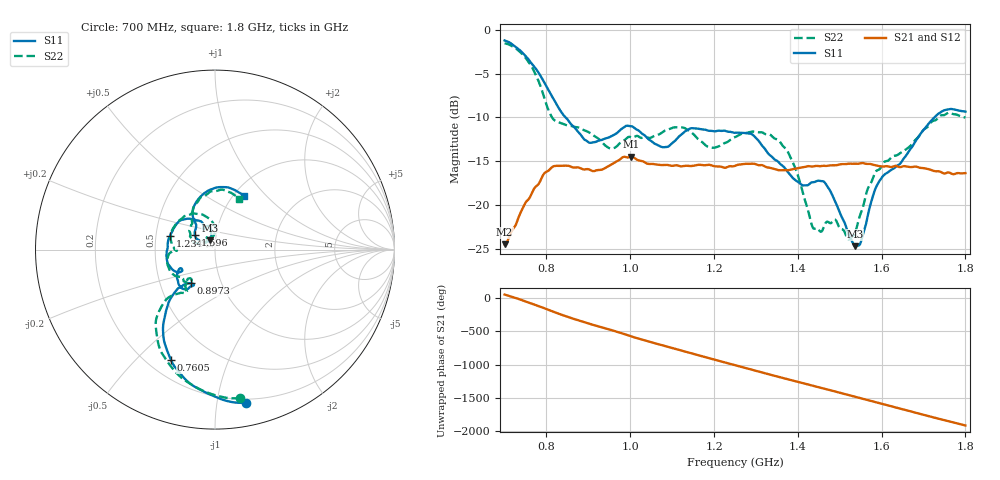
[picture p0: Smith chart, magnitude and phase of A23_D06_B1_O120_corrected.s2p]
! Created with skrf 1.9.0 (http://scikit-rf.org).
# Hz S RI R 50.0
!freq ReS11 ImS11 ReS21 ImS21 ReS12 ImS12 ReS22 ImS22
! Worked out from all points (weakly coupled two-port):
!   1601 points, 700 MHz to 1.8 GHz, reference 50 ohm
!   highest |S21| = -14.49 dB at 1.002 GHz (marker M1); lowest = -24.5 dB at 700 MHz (marker M2)
!   lowest |S11| = -24.7 dB at 1.537 GHz (marker M3), VSWR 1.12, Z = 47.2 + j4.92 ohm
!   |S11| at or under -10 dB: 845.8 MHz to 1.726 GHz (880 MHz wide, 68.4 % of centre)
!   |S22| runs from -24.0 to -1.5 dB; largest |S21 - S12| = 0.0034
!   S11 on the Smith chart (normalised r, x): 700 MHz: 0.17, -1.21; 760.5 MHz: 0.29, -0.64; 897.3 MHz: 0.72, -0.28; 1.234 GHz: 0.59, +0.10; 1.596 GHz: 0.79, +0.13; 1.8 GHz: 1.12, +0.76
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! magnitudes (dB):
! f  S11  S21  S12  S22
! 700 MHz  -1.2  -24.5  -24.3  -1.5
! 760.5 MHz  -3.6  -19.1  -19.0  -3.9
! 815.5 MHz  -7.8  -15.6  -15.7  -10.2
! 883.6 MHz  -12.1  -15.9  -15.8  -11.3
! 897.3 MHz  -12.7  -15.9  -16.0  -11.6
! 953 MHz  -12.2  -15.4  -15.4  -13.5
! 1.002 GHz  -11.0  -14.5  -14.6  -12.3
! 1.067 GHz  -13.2  -15.4  -15.4  -12.0
! 1.145 GHz  -11.2  -15.6  -15.6  -11.7
! 1.19 GHz  -11.5  -15.4  -15.5  -13.4
! 1.234 GHz  -11.6  -15.6  -15.7  -12.7
! 1.25 GHz  -11.8  -15.5  -15.5  -12.3
! 1.357 GHz  -15.2  -16.0  -16.0  -12.7
! 1.394 GHz  -17.2  -15.9  -15.8  -15.8
! 1.434 GHz  -17.4  -15.6  -15.6  -22.4
! 1.469 GHz  -17.8  -15.5  -15.5  -22.0
! 1.537 GHz  -24.7  -15.3  -15.3  -23.2
! 1.551 GHz  -24.1  -15.2  -15.3  -20.9
! 1.596 GHz  -17.2  -15.6  -15.6  -15.9
! 1.617 GHz  -16.2  -15.6  -15.6  -14.9
! 1.735 GHz  -9.6  -16.2  -16.2  -10.0
! 1.8 GHz  -9.3  -16.4  -16.4  -10.0
